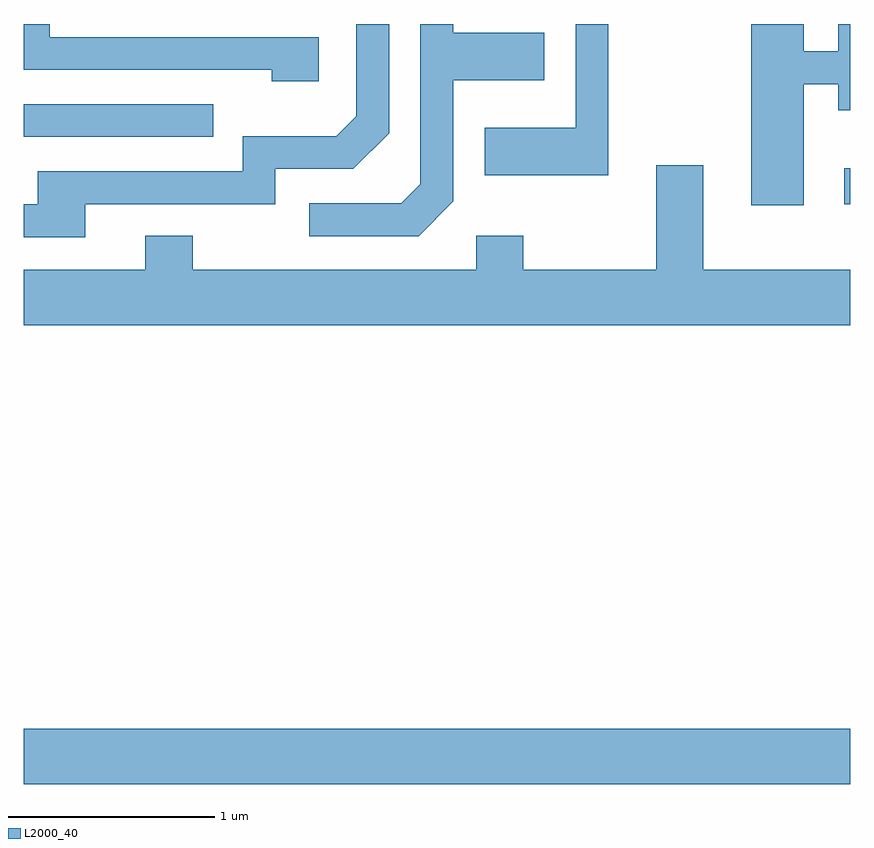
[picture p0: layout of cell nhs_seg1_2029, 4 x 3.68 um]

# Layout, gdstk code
import gdstk
lib = gdstk.Library(unit=1e-6, precision=1e-09)
def R(c, l, rs):  # rectangles x0, y0, x1, y1
    for r in rs: c.add(gdstk.rectangle(r[:2], r[2:], *l))
def P(c, l, *ps):  # polygons
    for p in ps: c.add(gdstk.Polygon(p, *l))
L2000_40 = (2000, 40)

nhs_seg1_2029 = lib.new_cell('nhs_seg1_2029')
R(nhs_seg1_2029, L2000_40, [(247.611,884.036,251.611,884.304), (251.581,886.841,251.611,887.014), (247.611,887.166,248.528,887.324)])
P(nhs_seg1_2029, L2000_40, [(249.039,887.649),(247.739,887.649),(247.739,887.712),(247.611,887.712),(247.611,887.491),(248.811,887.491),(248.811,887.436),(249.039,887.436)],
  [(251.384,887.421),(251.551,887.421),(251.551,887.296),(251.611,887.296),(251.611,887.712),(251.551,887.712),(251.551,887.579),(251.384,887.579),(251.384,887.712),(251.131,887.712),(251.131,886.836),(251.384,886.836)],
  [(249.689,886.854),(249.689,887.441),(250.129,887.441),(250.129,887.669),(249.689,887.669),(249.689,887.712),(249.531,887.712),(249.531,886.937),(249.439,886.844),(248.993,886.844),(248.993,886.686),(249.522,886.686)],
  [(250.439,887.712),(250.281,887.712),(250.281,887.209),(249.841,887.209),(249.841,886.981),(250.439,886.981)],
  [(247.909,886.841),(248.829,886.841),(248.829,887.011),(249.207,887.011),(249.379,887.184),(249.379,887.712),(249.221,887.712),(249.221,887.267),(249.124,887.169),(248.671,887.169),(248.671,886.999),(247.681,886.999),(247.681,886.839),(247.611,886.839),(247.611,886.681),(247.909,886.681)],
  [(251.611,886.524),(250.899,886.524),(250.899,887.029),(250.671,887.029),(250.671,886.524),(250.029,886.524),(250.029,886.689),(249.801,886.689),(249.801,886.524),(248.429,886.524),(248.429,886.689),(248.201,886.689),(248.201,886.524),(247.611,886.524),(247.611,886.256),(251.611,886.256)])

lib.write_gds('nhs_seg1_2029.gds')
